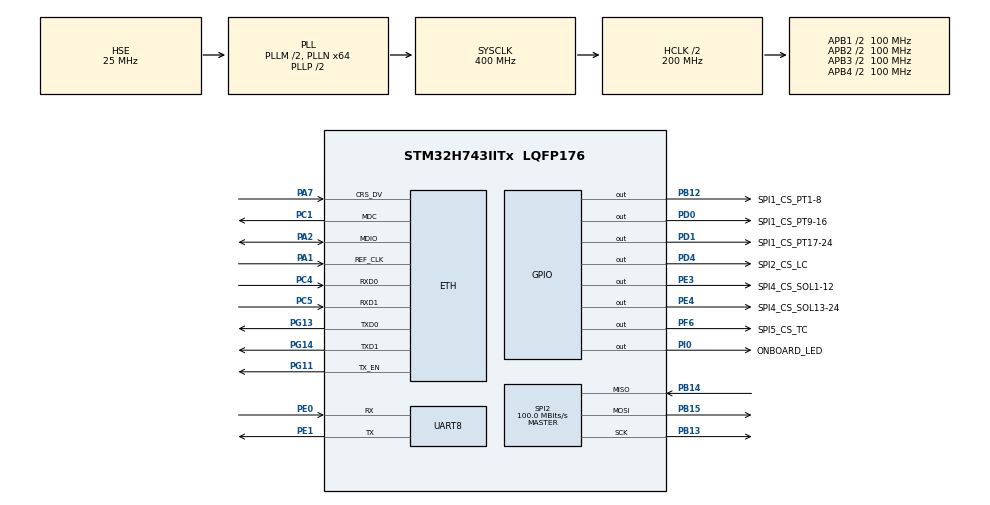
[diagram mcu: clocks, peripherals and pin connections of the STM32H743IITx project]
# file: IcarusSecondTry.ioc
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CORTEX_M7.AccessPermission_S-Cortex_Memory_Protection_Unit_Region1_Settings_S=MPU_REGION_FULL_ACCESS
CORTEX_M7.BaseAddress_S-Cortex_Memory_Protection_Unit_Region1_Settings_S=0x30000000
CORTEX_M7.DisableExec_S-Cortex_Memory_Protection_Unit_Region1_Settings_S=MPU_INSTRUCTION_ACCESS_DISABLE
CORTEX_M7.Enable_S-Cortex_Memory_Protection_Unit_Region1_Settings_S=MPU_REGION_ENABLE
CORTEX_M7.IsShareable_S-Cortex_Memory_Protection_Unit_Region1_Settings_S=MPU_ACCESS_SHAREABLE
CORTEX_M7.Size_S-Cortex_Memory_Protection_Unit_Region1_Settings_S=MPU_REGION_SIZE_64KB
CORTEX_M7.default_mode_Activation=1
ETH.MACAddr=02\:00\:00\:00\:00\:01
ETH.MediaInterface=HAL_ETH_RMII_MODE
FREERTOS.Tasks01=defaultTask,24,128,StartDefaultTask,Default,NULL,Dynamic,NULL,NULL;HeartbeatTask,24,512,StartHeartbeatTask,Default,NULL,Dynamic,NULL,NULL
FREERTOS.configUSE_NEWLIB_REENTRANT=1
LWIP.BSP.number=1
LWIP.IP_ADDRESS=192.168.001.050
LWIP.LWIP_DHCP=0
LWIP.LWIP_NETCONN=0
LWIP.MEM_SIZE=16384
LWIP.NETMASK_ADDRESS=255.255.255.000
LWIP.Version=v2.1.2_Cube
LWIP0.BSP.STBoard=false
LWIP0.BSP.api=BSP_COMPONENT_DRIVER
LWIP0.BSP.component=USER_PHY
LWIP0.BSP.instance=USER_PHY
LWIP0.BSP.name=Driver_PHY
LWIP0.BSP.semaphore=S_USER_PHY
LWIP0.BSP.solution=USER_PHY
Mcu.Family=STM32H7
Mcu.Name=STM32H743IITx
Mcu.Package=LQFP176
Mcu.UserConstants=I2C1_BUS_HZ,100000;TMP117_ADDRESS,0b1001000x
NVIC.ETH_IRQn=true\:5\:0\:false\:false\:true\:true\:true\:true\:true
NVIC.PriorityGroup=NVIC_PRIORITYGROUP_4
NVIC.TIM6_DAC_IRQn=true\:15\:0\:false\:false\:true\:false\:false\:true\:true
NVIC.TimeBase=TIM6_DAC_IRQn
NVIC.TimeBaseIP=TIM6
PA1.Mode=RMII
PA1.Signal=ETH_REF_CLK
PA13\ (JTMS/SWDIO).Mode=Serial_Wire
PA13\ (JTMS/SWDIO).Signal=DEBUG_JTMS-SWDIO
PA14\ (JTCK/SWCLK).Mode=Serial_Wire
PA14\ (JTCK/SWCLK).Signal=DEBUG_JTCK-SWCLK
PA2.Mode=RMII
PA2.Signal=ETH_MDIO
PA7.Mode=RMII
PA7.Signal=ETH_CRS_DV
PB12.GPIO_Label=SPI1_CS_PT1-8
PB12.PinState=GPIO_PIN_SET
PB12.Signal=GPIO_Output
PB13.Mode=Full_Duplex_Master
PB13.Signal=SPI2_SCK
PB14.Mode=Full_Duplex_Master
PB14.Signal=SPI2_MISO
PB15.Mode=Full_Duplex_Master
PB15.Signal=SPI2_MOSI
PB3\ (JTDO/TRACESWO).Signal=SPI1_SCK
PB4\ (NJTRST).Signal=SPI1_MISO
PB5.Signal=SPI1_MOSI
PB8.Signal=I2C1_SCL
PB9.Signal=I2C1_SDA
PC1.Mode=RMII
PC1.Signal=ETH_MDC
PC4.Mode=RMII
PC4.Signal=ETH_RXD0
PC5.Mode=RMII
PC5.Signal=ETH_RXD1
PD0.GPIO_Label=SPI1_CS_PT9-16
PD0.PinState=GPIO_PIN_SET
PD0.Signal=GPIO_Output
PD1.GPIO_Label=SPI1_CS_PT17-24
PD1.PinState=GPIO_PIN_SET
PD1.Signal=GPIO_Output
PD4.GPIO_Label=SPI2_CS_LC
PD4.PinState=GPIO_PIN_SET
PD4.Signal=GPIO_Output
PE0.Mode=Asynchronous
PE0.Signal=UART8_RX
PE1.Mode=Asynchronous
PE1.Signal=UART8_TX
PE3.GPIO_Label=SPI4_CS_SOL1-12
PE3.PinState=GPIO_PIN_SET
PE3.Signal=GPIO_Output
PE4.GPIO_Label=SPI4_CS_SOL13-24
PE4.PinState=GPIO_PIN_SET
PE4.Signal=GPIO_Output
PF6.GPIO_Label=SPI5_CS_TC
PF6.PinState=GPIO_PIN_SET
PF6.Signal=GPIO_Output
PG11.Mode=RMII
PG11.Signal=ETH_TX_EN
PG13.Mode=RMII
PG13.Signal=ETH_TXD0
PG14.Mode=RMII
PG14.Signal=ETH_TXD1
PH0-OSC_IN\ (PH0).Mode=HSE-External-Oscillator
PH0-OSC_IN\ (PH0).Signal=RCC_OSC_IN
PH1-OSC_OUT\ (PH1).Mode=HSE-External-Oscillator
PH1-OSC_OUT\ (PH1).Signal=RCC_OSC_OUT
PI0.GPIO_Label=ONBOARD_LED
PI0.Signal=GPIO_Output
ProjectManager.HeapSize=0x200
ProjectManager.StackSize=0x400
ProjectManager.TargetToolchain=STM32CubeIDE
RCC.ADCFreq_Value=50000000
RCC.APB1Freq_Value=100000000
RCC.APB2Freq_Value=100000000
RCC.APB3Freq_Value=100000000
RCC.APB4Freq_Value=100000000
RCC.CortexFreq_Value=400000000
RCC.D1PPRE=RCC_APB3_DIV2
RCC.D2PPRE1=RCC_APB1_DIV2
RCC.D2PPRE2=RCC_APB2_DIV2
RCC.D3PPRE=RCC_APB4_DIV2
RCC.DIVM1=2
RCC.DIVM2=2
RCC.DIVN1=64
RCC.DIVN2=16
RCC.DIVP2=4
RCC.DIVQ1=4
RCC.DIVQ2=4
RCC.HCLKFreq_Value=200000000
RCC.HPRE=RCC_HCLK_DIV2
RCC.PLL2FRACN=0
RCC.PLL3FRACN=0
RCC.PLLFRACN=0
RCC.PLLSourceVirtual=RCC_PLLSOURCE_HSE
RCC.SYSCLKFreq_VALUE=400000000
RCC.SYSCLKSource=RCC_SYSCLKSOURCE_PLLCLK
RCC.Spi45ClockSelection=RCC_SPI45CLKSOURCE_PLL2
RCC.USBFreq_Value=200000000
SPI2.CLKPhase=SPI_PHASE_2EDGE
SPI2.CLKPolarity=SPI_POLARITY_HIGH
SPI2.CalculateBaudRate=100.0 MBits/s
SPI2.DataSize=SPI_DATASIZE_8BIT
SPI2.Direction=SPI_DIRECTION_2LINES
SPI2.Mode=SPI_MODE_MASTER
SPI2.VirtualType=VM_MASTER
VP_FREERTOS_VS_CMSIS_V2.Mode=CMSIS_V2
VP_LWIP_VS_Enabled.Mode=Enabled
VP_MEMORYMAP_VS_MEMORYMAP.Mode=CurAppReg
VP_SYS_VS_tim6.Mode=TIM6
board=custom

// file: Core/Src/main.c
/* USER CODE BEGIN Header */
/**
  ******************************************************************************
  * @file           : main.c
  * @brief          : Main program body
  ******************************************************************************
  * @attention
  *
  * Copyright (c) 2026 STMicroelectronics.
  * All rights reserved.
  *
  * This software is licensed under terms that can be found in the LICENSE file
  * in the root directory of this software component.
  * If no LICENSE file comes with this software, it is provided AS-IS.
  *
  ******************************************************************************
  */
/* USER CODE END Header */
#include "main.h"
#include "cmsis_os.h"
#include "lwip.h"

/* USER CODE BEGIN Includes */
#if defined(HAL_SPI_MODULE_ENABLED)
#include "ad7124.h"
#include "ad7124_stm32_hal.h"
#include "load_cell_adc_profile.h"
#endif
#if defined(HAL_ETH_MODULE_ENABLED)
#include "ethernet_link_monitor.h"
#include "ksz8081.h"
#include "ksz8081_stm32_hal.h"
#endif
#include "network_runtime.h"

/* USER CODE END Includes */

/* USER CODE BEGIN PD */
#define BLINK_PERIOD_MS 500U
#define CONSOLE_HEARTBEAT_PERIOD_MS 1000U
#define CONSOLE_TX_TIMEOUT_MS 20U
#define CONSOLE_LOCK_TIMEOUT_MS 25U
#define AD7124_SPI_TIMEOUT_MS 20U
#define AD7124_SAMPLE_PERIOD_MS 10U
#define AD7124_RETRY_PERIOD_MS 1000U
#define PHY_DIAGNOSTIC_PERIOD_MS 1000U
/* CubeMX LwIP ethernetif owns ETH/MDIO after the LwIP transition. */
#define ICARUS_LWIP_ETHERNETIF_OWNS_ETH 1

/* USER CODE END PD */

SPI_HandleTypeDef hspi2;

UART_HandleTypeDef huart8;

/* Definitions for defaultTask */
osThreadId_t defaultTaskHandle;
const osThreadAttr_t defaultTask_attributes = {
  .name = "defaultTask",
  /* MX_LWIP_Init() synchronously initializes ETH and emits the first ARP
   * packet through this task. The CubeMX default 512-byte stack is not
   * sufficient for that call chain. */
  .stack_size = 2048U,
  .priority = (osPriority_t) osPriorityNormal,
};
/* Definitions for HeartbeatTask */
osThreadId_t HeartbeatTaskHandle;
const osThreadAttr_t HeartbeatTask_attributes = {
  .name = "HeartbeatTask",
  .stack_size = 512 * 4,
  .priority = (osPriority_t) osPriorityNormal,
};
/* USER CODE BEGIN PV */

static const uint8_t console_startup_message[] =
    "\r\nIcarusSecondTry: UART8 diagnostics online\r\n";
static const uint8_t console_gpio_safe_message[] =
    "IcarusSecondTry: GPIO safe outputs asserted\r\n";
static const uint8_t console_heartbeat_message[] =
    "IcarusSecondTry: heartbeat\r\n";

/* Created before application threads. It serializes the temporary shared
 * UART diagnostic path with a finite wait. A later DiagnosticsTask can become
 * the sole UART owner without changing producer diagnostics. */
static osMutexId_t console_mutex;
static const osMutexAttr_t console_mutex_attributes = {
  .name = "Console",
};

/* This initial UDP slice has no configured actuator peripheral. It still owns
 * raw-API UDP, validates all ingress, serves echo, and publishes zeroed
 * telemetry. A later ActuatorTask supplies the only target-application
 * callback; until then no network input can energize an output. */
static icarus_network_runtime_t network_runtime;

#if defined(HAL_SPI_MODULE_ENABLED)
static ad7124_t load_cell_adc;
static ad7124_stm32_hal_t load_cell_transport;
static ad7124_diagnostics_t load_cell_diagnostics;
/* Debugger-visible only until telemetry owns an immutable sample snapshot. */
static ad7124_sample_t load_cell_latest_sample;
static ad7124_result_t load_cell_last_result;
static uint32_t load_cell_sample_sequence;

static const uint8_t console_ad7124_ready_message[] =
    "IcarusSecondTry: AD7124 acquisition configured\r\n";
static const uint8_t console_ad7124_failure_message[] =
    "IcarusSecondTry: AD7124 acquisition fault\r\n";

static osThreadId_t load_cell_acquisition_task_handle;
static const osThreadAttr_t load_cell_acquisition_task_attributes = {
  .name = "LoadCellAcq",
  .stack_size = 512U * 4U,
  .priority = (osPriority_t)osPriorityBelowNormal,
};
#endif

#if defined(HAL_ETH_MODULE_ENABLED) && !defined(ICARUS_LWIP_ETHERNETIF_OWNS_ETH)
/* The NetworkTask is the sole post-startup owner of ETH MDIO operations. */
static ksz8081_t ethernet_phy;
static ksz8081_stm32_hal_t ethernet_phy_transport;
static ksz8081_status_t ethernet_phy_status;
static ksz8081_result_t ethernet_phy_last_result;
/* Debugger-visible state and counters; only NetworkTask writes this object. */
static ethernet_link_monitor_t ethernet_link_monitor;

static const uint8_t console_ethernet_phy_found_message[] =
    "IcarusSecondTry: KSZ8081 discovered\r\n";
static const uint8_t console_ethernet_link_down_message[] =
    "IcarusSecondTry: Ethernet link down\r\n";
static const uint8_t console_ethernet_negotiating_message[] =
    "IcarusSecondTry: Ethernet negotiating\r\n";
static const uint8_t console_ethernet_link_up_message[] =
    "IcarusSecondTry: Ethernet link up\r\n";
static const uint8_t console_ethernet_mdio_fault_message[] =
    "IcarusSecondTry: Ethernet MDIO/PHY fault\r\n";

static osThreadId_t network_task_handle;
static const osThreadAttr_t network_task_attributes = {
  .name = "NetworkTask",
  .stack_size = 768U * 4U,
  .priority = (osPriority_t)osPriorityBelowNormal,
};
#endif

/* USER CODE END PV */

void SystemClock_Config(void);
static void MPU_Config(void);
static void MX_GPIO_Init(void);
static void MX_UART8_Init(void);
static void MX_SPI2_Init(void);
void StartDefaultTask(void *argument);
void StartHeartbeatTask(void *argument);

/* USER CODE BEGIN PFP */

static HAL_StatusTypeDef Console_Write(const uint8_t *data, uint16_t length);
static void Board_AssertSafeOutputs(void);
#if defined(HAL_SPI_MODULE_ENABLED)
static void StartLoadCellAcquisitionTask(void *argument);
#endif
#if defined(HAL_ETH_MODULE_ENABLED) && !defined(ICARUS_LWIP_ETHERNETIF_OWNS_ETH)
static void StartNetworkTask(void *argument);
static void Ethernet_ReportStateTransition(ethernet_link_state_t state);
#endif

/* USER CODE END PFP */

/* USER CODE BEGIN 0 */

/*
 * This is intentionally a small polling console for bring-up.  Every write
 * has a finite timeout so a fault cannot stall the firmware indefinitely.
 * Do not redirect printf() here: its buffering and error handling would hide
 * the exact UART operation being tested.  DMA/interrupt-driven logging comes
 * later, once the basic electrical UART path is proven.
 */
static HAL_StatusTypeDef Console_Write(const uint8_t *data, uint16_t length)
{
  HAL_StatusTypeDef result;
  bool lock_acquired = false;

  if ((data == NULL) || (length == 0U))
  {
    return HAL_ERROR;
  }

  if (osKernelGetState() == osKernelRunning)
  {
    if ((console_mutex == NULL) ||
        (osMutexAcquire(console_mutex, CONSOLE_LOCK_TIMEOUT_MS) != osOK))
    {
      return HAL_TIMEOUT;
    }
    lock_acquired = true;
  }

  result = HAL_UART_Transmit(&huart8, data, length, CONSOLE_TX_TIMEOUT_MS);
  if (lock_acquired)
  {
    (void)osMutexRelease(console_mutex);
  }
  return result;
}

/*
 * Keep every device chip select inactive until that device's driver takes
 * ownership. CubeMX also establishes these levels during GPIO setup, but this
 * explicit call makes the board safety policy visible in handwritten code and
 * safely reasserts it before the scheduler starts.
 *
 * This function deliberately does not configure GPIO modes or enable any
 * peripheral. Those hardware selections remain in the .ioc file.
 */
static void Board_AssertSafeOutputs(void)
{
  HAL_GPIO_WritePin(GPIOE,
                    SPI4_CS_SOL1_12_Pin | SPI4_CS_SOL13_24_Pin,
                    GPIO_PIN_SET);
  HAL_GPIO_WritePin(SPI5_CS_TC_GPIO_Port, SPI5_CS_TC_Pin, GPIO_PIN_SET);
  HAL_GPIO_WritePin(SPI1_CS_PT1_8_GPIO_Port, SPI1_CS_PT1_8_Pin, GPIO_PIN_SET);
  HAL_GPIO_WritePin(GPIOD,
                    SPI1_CS_PT9_16_Pin | SPI1_CS_PT17_24_Pin | SPI2_CS_LC_Pin,
                    GPIO_PIN_SET);
  HAL_GPIO_WritePin(ONBOARD_LED_GPIO_Port, ONBOARD_LED_Pin, GPIO_PIN_RESET);
}

/* USER CODE END 0 */

int main(void)
{

  /* MPU Configuration--------------------------------------------------------*/
  MPU_Config();

  /* MCU Configuration--------------------------------------------------------*/

  /* Reset of all peripherals, Initializes the Flash interface and the Systick. */
  HAL_Init();

  /* Configure the system clock */
  SystemClock_Config();

  /* Initialize all configured peripherals */
  MX_GPIO_Init();
  Board_AssertSafeOutputs();
  MX_UART8_Init();
  MX_SPI2_Init();
  /* USER CODE BEGIN 2 */

  if (Console_Write(console_startup_message,
                    sizeof(console_startup_message) - 1U) != HAL_OK)
  {
    Error_Handler();
  }

  if (Console_Write(console_gpio_safe_message,
                    sizeof(console_gpio_safe_message) - 1U) != HAL_OK)
  {
    Error_Handler();
  }

#if defined(HAL_SPI_MODULE_ENABLED)
  /* hspi2 is generated and initialized by CubeMX when SPI2 is enabled in the
   * .ioc file. Binding is separate from the probe so this setup performs no
   * AD7124 transaction before the acquisition task owns SPI2. */
  if (AD7124_Stm32HalBind(&load_cell_adc,
                          &load_cell_transport,
                          &hspi2,
                          SPI2_CS_LC_GPIO_Port,
                          SPI2_CS_LC_Pin,
                          AD7124_SPI_TIMEOUT_MS) != AD7124_RESULT_OK)
  {
    Error_Handler();
  }
#endif

#if defined(HAL_ETH_MODULE_ENABLED) && !defined(ICARUS_LWIP_ETHERNETIF_OWNS_ETH)
  if (KSZ8081_Stm32HalBind(&ethernet_phy, &ethernet_phy_transport, &heth) !=
      KSZ8081_RESULT_OK)
  {
    Error_Handler();
  }
  EthernetLinkMonitor_Init(&ethernet_link_monitor);
#endif

  /* USER CODE END 2 */

  /* Init scheduler */
  osKernelInitialize();

  /* USER CODE BEGIN RTOS_MUTEX */
  console_mutex = osMutexNew(&console_mutex_attributes);
  if (console_mutex == NULL)
  {
    Error_Handler();
  }
  /* USER CODE END RTOS_MUTEX */

  /* Create the thread(s) */
  /* creation of defaultTask */
  defaultTaskHandle = osThreadNew(StartDefaultTask, NULL, &defaultTask_attributes);

  /* creation of HeartbeatTask */
  HeartbeatTaskHandle = osThreadNew(StartHeartbeatTask, NULL, &HeartbeatTask_attributes);

  /* USER CODE BEGIN RTOS_THREADS */
  if ((defaultTaskHandle == NULL) || (HeartbeatTaskHandle == NULL))
  {
    Error_Handler();
  }
#if defined(HAL_SPI_MODULE_ENABLED)
  load_cell_acquisition_task_handle = osThreadNew(StartLoadCellAcquisitionTask,
                                                   NULL,
                                                   &load_cell_acquisition_task_attributes);
  if (load_cell_acquisition_task_handle == NULL)
  {
    Error_Handler();
  }
#endif
#if defined(HAL_ETH_MODULE_ENABLED) && !defined(ICARUS_LWIP_ETHERNETIF_OWNS_ETH)
  network_task_handle = osThreadNew(StartNetworkTask, NULL,
                                    &network_task_attributes);
  if (network_task_handle == NULL)
  {
    Error_Handler();
  }
#endif
  /* add threads, ... */
  /* USER CODE END RTOS_THREADS */

  /* Start scheduler */
  osKernelStart();

  /* We should never get here as control is now taken by the scheduler */

  /* Infinite loop */
  while (1)
  {

  }
}

void SystemClock_Config(void)
{
  RCC_OscInitTypeDef RCC_OscInitStruct = {0};
  RCC_ClkInitTypeDef RCC_ClkInitStruct = {0};

  /** Supply configuration update enable
  */
  HAL_PWREx_ConfigSupply(PWR_LDO_SUPPLY);

  /** Configure the main internal regulator output voltage
  */
  __HAL_PWR_VOLTAGESCALING_CONFIG(PWR_REGULATOR_VOLTAGE_SCALE1);

  while(!__HAL_PWR_GET_FLAG(PWR_FLAG_VOSRDY)) {}

  /** Initializes the RCC Oscillators according to the specified parameters
  * in the RCC_OscInitTypeDef structure.
  */
  RCC_OscInitStruct.OscillatorType = RCC_OSCILLATORTYPE_HSE;
  RCC_OscInitStruct.HSEState = RCC_HSE_ON;
  RCC_OscInitStruct.PLL.PLLState = RCC_PLL_ON;
  RCC_OscInitStruct.PLL.PLLSource = RCC_PLLSOURCE_HSE;
  RCC_OscInitStruct.PLL.PLLM = 2;
  RCC_OscInitStruct.PLL.PLLN = 64;
  RCC_OscInitStruct.PLL.PLLP = 2;
  RCC_OscInitStruct.PLL.PLLQ = 4;
  RCC_OscInitStruct.PLL.PLLR = 2;
  RCC_OscInitStruct.PLL.PLLRGE = RCC_PLL1VCIRANGE_3;
  RCC_OscInitStruct.PLL.PLLVCOSEL = RCC_PLL1VCOWIDE;
  RCC_OscInitStruct.PLL.PLLFRACN = 0;
  if (HAL_RCC_OscConfig(&RCC_OscInitStruct) != HAL_OK)
  {
    Error_Handler();
  }

  /** Initializes the CPU, AHB and APB buses clocks
  */
  RCC_ClkInitStruct.ClockType = RCC_CLOCKTYPE_HCLK|RCC_CLOCKTYPE_SYSCLK
                              |RCC_CLOCKTYPE_PCLK1|RCC_CLOCKTYPE_PCLK2
                              |RCC_CLOCKTYPE_D3PCLK1|RCC_CLOCKTYPE_D1PCLK1;
  RCC_ClkInitStruct.SYSCLKSource = RCC_SYSCLKSOURCE_PLLCLK;
  RCC_ClkInitStruct.SYSCLKDivider = RCC_SYSCLK_DIV1;
  RCC_ClkInitStruct.AHBCLKDivider = RCC_HCLK_DIV2;
  RCC_ClkInitStruct.APB3CLKDivider = RCC_APB3_DIV2;
  RCC_ClkInitStruct.APB1CLKDivider = RCC_APB1_DIV2;
  RCC_ClkInitStruct.APB2CLKDivider = RCC_APB2_DIV2;
  RCC_ClkInitStruct.APB4CLKDivider = RCC_APB4_DIV2;

  if (HAL_RCC_ClockConfig(&RCC_ClkInitStruct, FLASH_LATENCY_2) != HAL_OK)
  {
    Error_Handler();
  }
}

static void MX_SPI2_Init(void)
{

  /* SPI2 parameter configuration*/
  hspi2.Instance = SPI2;
  hspi2.Init.Mode = SPI_MODE_MASTER;
  hspi2.Init.Direction = SPI_DIRECTION_2LINES;
  hspi2.Init.DataSize = SPI_DATASIZE_8BIT;
  hspi2.Init.CLKPolarity = SPI_POLARITY_HIGH;
  hspi2.Init.CLKPhase = SPI_PHASE_2EDGE;
  hspi2.Init.NSS = SPI_NSS_SOFT;
  hspi2.Init.BaudRatePrescaler = SPI_BAUDRATEPRESCALER_2;
  hspi2.Init.FirstBit = SPI_FIRSTBIT_MSB;
  hspi2.Init.TIMode = SPI_TIMODE_DISABLE;
  hspi2.Init.CRCCalculation = SPI_CRCCALCULATION_DISABLE;
  hspi2.Init.CRCPolynomial = 0x0;
  hspi2.Init.NSSPMode = SPI_NSS_PULSE_ENABLE;
  hspi2.Init.NSSPolarity = SPI_NSS_POLARITY_LOW;
  hspi2.Init.FifoThreshold = SPI_FIFO_THRESHOLD_01DATA;
  hspi2.Init.TxCRCInitializationPattern = SPI_CRC_INITIALIZATION_ALL_ZERO_PATTERN;
  hspi2.Init.RxCRCInitializationPattern = SPI_CRC_INITIALIZATION_ALL_ZERO_PATTERN;
  hspi2.Init.MasterSSIdleness = SPI_MASTER_SS_IDLENESS_00CYCLE;
  hspi2.Init.MasterInterDataIdleness = SPI_MASTER_INTERDATA_IDLENESS_00CYCLE;
  hspi2.Init.MasterReceiverAutoSusp = SPI_MASTER_RX_AUTOSUSP_DISABLE;
  hspi2.Init.MasterKeepIOState = SPI_MASTER_KEEP_IO_STATE_DISABLE;
  hspi2.Init.IOSwap = SPI_IO_SWAP_DISABLE;
  if (HAL_SPI_Init(&hspi2) != HAL_OK)
  {
    Error_Handler();
  }

}

static void MX_UART8_Init(void)
{

  huart8.Instance = UART8;
  huart8.Init.BaudRate = 115200;
  huart8.Init.WordLength = UART_WORDLENGTH_8B;
  huart8.Init.StopBits = UART_STOPBITS_1;
  huart8.Init.Parity = UART_PARITY_NONE;
  huart8.Init.Mode = UART_MODE_TX_RX;
  huart8.Init.HwFlowCtl = UART_HWCONTROL_NONE;
  huart8.Init.OverSampling = UART_OVERSAMPLING_16;
  huart8.Init.OneBitSampling = UART_ONE_BIT_SAMPLE_DISABLE;
  huart8.Init.ClockPrescaler = UART_PRESCALER_DIV1;
  huart8.AdvancedInit.AdvFeatureInit = UART_ADVFEATURE_NO_INIT;
  if (HAL_UART_Init(&huart8) != HAL_OK)
  {
    Error_Handler();
  }
  if (HAL_UARTEx_SetTxFifoThreshold(&huart8, UART_TXFIFO_THRESHOLD_1_8) != HAL_OK)
  {
    Error_Handler();
  }
  if (HAL_UARTEx_SetRxFifoThreshold(&huart8, UART_RXFIFO_THRESHOLD_1_8) != HAL_OK)
  {
    Error_Handler();
  }
  if (HAL_UARTEx_DisableFifoMode(&huart8) != HAL_OK)
  {
    Error_Handler();
  }

}

static void MX_GPIO_Init(void)
{
  GPIO_InitTypeDef GPIO_InitStruct = {0};

  /* GPIO Ports Clock Enable */
  __HAL_RCC_GPIOE_CLK_ENABLE();
  __HAL_RCC_GPIOF_CLK_ENABLE();
  __HAL_RCC_GPIOH_CLK_ENABLE();
  __HAL_RCC_GPIOC_CLK_ENABLE();
  __HAL_RCC_GPIOA_CLK_ENABLE();
  __HAL_RCC_GPIOB_CLK_ENABLE();
  __HAL_RCC_GPIOI_CLK_ENABLE();
  __HAL_RCC_GPIOD_CLK_ENABLE();
  __HAL_RCC_GPIOG_CLK_ENABLE();

  /*Configure GPIO pin Output Level */
  HAL_GPIO_WritePin(GPIOE, SPI4_CS_SOL1_12_Pin|SPI4_CS_SOL13_24_Pin, GPIO_PIN_SET);

  /*Configure GPIO pin Output Level */
  HAL_GPIO_WritePin(SPI5_CS_TC_GPIO_Port, SPI5_CS_TC_Pin, GPIO_PIN_SET);

  /*Configure GPIO pin Output Level */
  HAL_GPIO_WritePin(SPI1_CS_PT1_8_GPIO_Port, SPI1_CS_PT1_8_Pin, GPIO_PIN_SET);

  /*Configure GPIO pin Output Level */
  HAL_GPIO_WritePin(ONBOARD_LED_GPIO_Port, ONBOARD_LED_Pin, GPIO_PIN_RESET);

  /*Configure GPIO pin Output Level */
  HAL_GPIO_WritePin(GPIOD, SPI1_CS_PT9_16_Pin|SPI1_CS_PT17_24_Pin|SPI2_CS_LC_Pin, GPIO_PIN_SET);

  /*Configure GPIO pins : SPI4_CS_SOL1_12_Pin SPI4_CS_SOL13_24_Pin */
  GPIO_InitStruct.Pin = SPI4_CS_SOL1_12_Pin|SPI4_CS_SOL13_24_Pin;
  GPIO_InitStruct.Mode = GPIO_MODE_OUTPUT_PP;
  GPIO_InitStruct.Pull = GPIO_NOPULL;
  GPIO_InitStruct.Speed = GPIO_SPEED_FREQ_LOW;
  HAL_GPIO_Init(GPIOE, &GPIO_InitStruct);

  /*Configure GPIO pin : SPI5_CS_TC_Pin */
  GPIO_InitStruct.Pin = SPI5_CS_TC_Pin;
  GPIO_InitStruct.Mode = GPIO_MODE_OUTPUT_PP;
  GPIO_InitStruct.Pull = GPIO_NOPULL;
  GPIO_InitStruct.Speed = GPIO_SPEED_FREQ_LOW;
  HAL_GPIO_Init(SPI5_CS_TC_GPIO_Port, &GPIO_InitStruct);

  /*Configure GPIO pin : SPI1_CS_PT1_8_Pin */
  GPIO_InitStruct.Pin = SPI1_CS_PT1_8_Pin;
  GPIO_InitStruct.Mode = GPIO_MODE_OUTPUT_PP;
  GPIO_InitStruct.Pull = GPIO_NOPULL;
  GPIO_InitStruct.Speed = GPIO_SPEED_FREQ_LOW;
  HAL_GPIO_Init(SPI1_CS_PT1_8_GPIO_Port, &GPIO_InitStruct);

  /*Configure GPIO pin : ONBOARD_LED_Pin */
  GPIO_InitStruct.Pin = ONBOARD_LED_Pin;
  GPIO_InitStruct.Mode = GPIO_MODE_OUTPUT_PP;
  GPIO_InitStruct.Pull = GPIO_NOPULL;
  GPIO_InitStruct.Speed = GPIO_SPEED_FREQ_LOW;
  HAL_GPIO_Init(ONBOARD_LED_GPIO_Port, &GPIO_InitStruct);

  /*Configure GPIO pins : SPI1_CS_PT9_16_Pin SPI1_CS_PT17_24_Pin SPI2_CS_LC_Pin */
  GPIO_InitStruct.Pin = SPI1_CS_PT9_16_Pin|SPI1_CS_PT17_24_Pin|SPI2_CS_LC_Pin;
  GPIO_InitStruct.Mode = GPIO_MODE_OUTPUT_PP;
  GPIO_InitStruct.Pull = GPIO_NOPULL;
  GPIO_InitStruct.Speed = GPIO_SPEED_FREQ_LOW;
  HAL_GPIO_Init(GPIOD, &GPIO_InitStruct);

  /*Configure GPIO pins : PB3 PB4 PB5 */
  GPIO_InitStruct.Pin = GPIO_PIN_3|GPIO_PIN_4|GPIO_PIN_5;
  GPIO_InitStruct.Mode = GPIO_MODE_AF_PP;
  GPIO_InitStruct.Pull = GPIO_NOPULL;
  GPIO_InitStruct.Speed = GPIO_SPEED_FREQ_LOW;
  GPIO_InitStruct.Alternate = GPIO_AF5_SPI1;
  HAL_GPIO_Init(GPIOB, &GPIO_InitStruct);

  /*Configure GPIO pins : PB8 PB9 */
  GPIO_InitStruct.Pin = GPIO_PIN_8|GPIO_PIN_9;
  GPIO_InitStruct.Mode = GPIO_MODE_AF_OD;
  GPIO_InitStruct.Pull = GPIO_NOPULL;
  GPIO_InitStruct.Speed = GPIO_SPEED_FREQ_LOW;
  GPIO_InitStruct.Alternate = GPIO_AF4_I2C1;
  HAL_GPIO_Init(GPIOB, &GPIO_InitStruct);

}

/* USER CODE BEGIN 4 */

#if defined(HAL_SPI_MODULE_ENABLED)
/*
 * This task is the sole current owner of SPI2. It configures one provisional
 * load-cell channel, verifies every written register, then publishes only raw
 * ADC codes for later telemetry/calibration work. A failed transaction never
 * becomes a plausible sample; configuration retries after a bounded delay.
 */
static void StartLoadCellAcquisitionTask(void *argument)
{
  ad7124_result_t previous_result = AD7124_RESULT_ARGUMENT;

  (void)argument;

  for (;;)
  {
    load_cell_last_result = AD7124_ConfigureSingleChannel(
        &load_cell_adc, &load_cell_adc_profile);
    if (load_cell_last_result == AD7124_RESULT_OK)
    {
      load_cell_last_result = AD7124_ReadDiagnostics(&load_cell_adc,
                                                      &load_cell_diagnostics);
    }

    if (load_cell_last_result != previous_result)
    {
      const uint8_t *message = (load_cell_last_result == AD7124_RESULT_OK)
          ? console_ad7124_ready_message
          : console_ad7124_failure_message;
      const uint16_t message_length = (load_cell_last_result == AD7124_RESULT_OK)
          ? (uint16_t)(sizeof(console_ad7124_ready_message) - 1U)
          : (uint16_t)(sizeof(console_ad7124_failure_message) - 1U);

      (void)Console_Write(message, message_length);
      previous_result = load_cell_last_result;
    }

    if (load_cell_last_result != AD7124_RESULT_OK)
    {
      osDelay(AD7124_RETRY_PERIOD_MS);
      continue;
    }

    for (;;)
    {
      load_cell_last_result = AD7124_ReadSample(&load_cell_adc,
                                                 &load_cell_latest_sample);
      if (load_cell_last_result == AD7124_RESULT_OK)
      {
        load_cell_sample_sequence++;
      }
      else if (load_cell_last_result != AD7124_RESULT_NOT_READY)
      {
        if (load_cell_last_result != previous_result)
        {
          (void)Console_Write(console_ad7124_failure_message,
                              (uint16_t)(sizeof(console_ad7124_failure_message) - 1U));
          previous_result = load_cell_last_result;
        }
        break;
      }
      osDelay(AD7124_SAMPLE_PERIOD_MS);
    }
  }
}
#endif

#if defined(HAL_ETH_MODULE_ENABLED) && !defined(ICARUS_LWIP_ETHERNETIF_OWNS_ETH)
/*
 * No LwIP or packet DMA is started in this milestone. This task only performs
 * bounded, read-only MDIO discovery and link-state snapshots for the KSZ8081.
 * The monitor's counters are debugger-visible; state transitions are also sent
 * through the bounded UART diagnostics path for bench testing.
 */
static void StartNetworkTask(void *argument)
{
  bool phy_discovered = false;

  (void)argument;
  for (;;)
  {
    const bool is_scan = !phy_discovered;
    bool state_changed;

    if (!phy_discovered)
    {
      ethernet_phy_last_result = KSZ8081_Scan(&ethernet_phy,
                                              &ethernet_phy_status);
      phy_discovered = (ethernet_phy_last_result == KSZ8081_RESULT_OK);
    }
    else
    {
      ethernet_phy_last_result = KSZ8081_ReadStatus(
          &ethernet_phy, ethernet_phy_status.phy_address, &ethernet_phy_status);
      if (ethernet_phy_last_result != KSZ8081_RESULT_OK)
      {
        phy_discovered = false;
      }
    }

    state_changed = EthernetLinkMonitor_Observe(&ethernet_link_monitor,
                                                 is_scan,
                                                 ethernet_phy_last_result,
                                                 (ethernet_phy_last_result ==
                                                  KSZ8081_RESULT_OK)
                                                     ? &ethernet_phy_status
                                                     : NULL,
                                                 HAL_GetTick());
    if (is_scan && (ethernet_phy_last_result == KSZ8081_RESULT_OK))
    {
      (void)Console_Write(console_ethernet_phy_found_message,
                          (uint16_t)(sizeof(console_ethernet_phy_found_message) - 1U));
    }
    if (state_changed)
    {
      Ethernet_ReportStateTransition(ethernet_link_monitor.state);
    }

    osDelay(PHY_DIAGNOSTIC_PERIOD_MS);
  }
}

static void Ethernet_ReportStateTransition(ethernet_link_state_t state)
{
  const uint8_t *message = NULL;
  uint16_t message_length = 0U;

  switch (state)
  {
    case ETHERNET_LINK_STATE_DOWN:
      message = console_ethernet_link_down_message;
      message_length = (uint16_t)(sizeof(console_ethernet_link_down_message) - 1U);
      break;
    case ETHERNET_LINK_STATE_NEGOTIATING:
      message = console_ethernet_negotiating_message;
      message_length = (uint16_t)(sizeof(console_ethernet_negotiating_message) - 1U);
      break;
    case ETHERNET_LINK_STATE_UP:
      message = console_ethernet_link_up_message;
      message_length = (uint16_t)(sizeof(console_ethernet_link_up_message) - 1U);
      break;
    case ETHERNET_LINK_STATE_FAULT:
      message = console_ethernet_mdio_fault_message;
      message_length = (uint16_t)(sizeof(console_ethernet_mdio_fault_message) - 1U);
      break;
    case ETHERNET_LINK_STATE_INITIALIZING:
    default:
      return;
  }

  (void)Console_Write(message, message_length);
}
#endif

/* USER CODE END 4 */

void StartDefaultTask(void *argument)
{
  /* init code for LWIP */
  MX_LWIP_Init();
  /* USER CODE BEGIN 5 */
  /* This is the sole application owner of raw-API UDP. LwIP core calls are
   * marshalled by udp_service through tcpip_callback(); receive callbacks only
   * enqueue bounded datagrams. No packet reaches an actuator in this slice. */
  if (!IcarusNetworkRuntime_Init(&network_runtime, NULL, NULL))
  {
    Error_Handler();
  }
  for(;;)
  {
    IcarusNetworkRuntime_Process(&network_runtime, HAL_GetTick());
    osDelay(5U);
  }
  /* USER CODE END 5 */
}

void StartHeartbeatTask(void *argument)
{
  /* USER CODE BEGIN StartHeartbeatTask */
  uint32_t elapsed_ms = 0U;

  for(;;)
  {
    HAL_GPIO_TogglePin(ONBOARD_LED_GPIO_Port, ONBOARD_LED_Pin);

    elapsed_ms += BLINK_PERIOD_MS;
    if (elapsed_ms >= CONSOLE_HEARTBEAT_PERIOD_MS)
    {
      if (Console_Write(console_heartbeat_message,
                        sizeof(console_heartbeat_message) - 1U) != HAL_OK)
      {
        Error_Handler();
      }

      elapsed_ms = 0U;
    }

    /* Tasks must yield with the RTOS delay API. HAL_Delay() depends on the
     * HAL time base and must not be used as a task scheduling mechanism. */
    osDelay(BLINK_PERIOD_MS);
  }
  /* USER CODE END StartHeartbeatTask */
}

 /* MPU Configuration */

void MPU_Config(void)
{
  MPU_Region_InitTypeDef MPU_InitStruct = {0};

  /* Disables the MPU */
  HAL_MPU_Disable();

  /** Initializes and configures the Region and the memory to be protected
  */
  MPU_InitStruct.Enable = MPU_REGION_ENABLE;
  MPU_InitStruct.Number = MPU_REGION_NUMBER0;
  MPU_InitStruct.BaseAddress = 0x0;
  MPU_InitStruct.Size = MPU_REGION_SIZE_4GB;
  MPU_InitStruct.SubRegionDisable = 0x87;
  MPU_InitStruct.TypeExtField = MPU_TEX_LEVEL0;
  MPU_InitStruct.AccessPermission = MPU_REGION_NO_ACCESS;
  MPU_InitStruct.DisableExec = MPU_INSTRUCTION_ACCESS_DISABLE;
  MPU_InitStruct.IsShareable = MPU_ACCESS_SHAREABLE;
  MPU_InitStruct.IsCacheable = MPU_ACCESS_NOT_CACHEABLE;
  MPU_InitStruct.IsBufferable = MPU_ACCESS_NOT_BUFFERABLE;

  HAL_MPU_ConfigRegion(&MPU_InitStruct);

  /** Initializes and configures the Region and the memory to be protected
  */
  MPU_InitStruct.Number = MPU_REGION_NUMBER1;
  MPU_InitStruct.BaseAddress = 0x30000000;
  MPU_InitStruct.Size = MPU_REGION_SIZE_64KB;
  MPU_InitStruct.SubRegionDisable = 0x0;
  MPU_InitStruct.AccessPermission = MPU_REGION_FULL_ACCESS;

  HAL_MPU_ConfigRegion(&MPU_InitStruct);
  /* Enables the MPU */
  HAL_MPU_Enable(MPU_PRIVILEGED_DEFAULT);

}

void HAL_TIM_PeriodElapsedCallback(TIM_HandleTypeDef *htim)
{
  if (htim->Instance == TIM6)
  {
    HAL_IncTick();
  }
}

void Error_Handler(void)
{
  __disable_irq();
  while (1)
  {
  }
}

/* FreeRTOS invokes these hooks before corrupted task state can continue into
 * application code. They intentionally avoid UART/logging because either hook
 * can be reached with allocator or scheduler state already compromised. */
void vApplicationMallocFailedHook(void)
{
  Error_Handler();
}

void vApplicationStackOverflowHook(TaskHandle_t task,
                                   signed char *task_name)
{
  (void)task;
  (void)task_name;
  Error_Handler();
}
